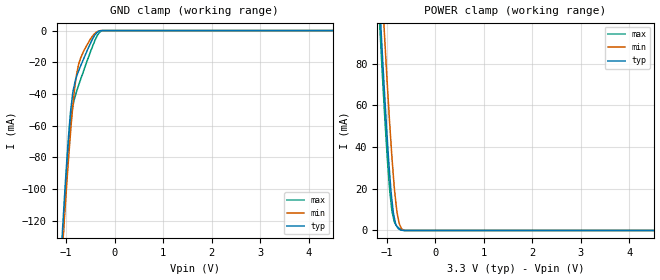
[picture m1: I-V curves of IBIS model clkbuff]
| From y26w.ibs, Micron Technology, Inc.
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|   clkbuff MODEL
[Model]   clkbuff
Model_type   Input
Vinl = 800.000mV
Vinh = 2.000V
|   typ   min   max
C_comp   2.600pF   2.130pF   3.060pF
[Voltage Range]   3.300V   3.000V   3.600V
[Temperature Range]   25.0   85.0   0.0
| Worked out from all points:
|   GND clamp passes 1 mA (typ) near -0.36 V on its own axis
|   POWER clamp passes 1 mA (typ) near -0.77 V on its own axis
[GND Clamp]
|   Voltage   I(typ)   I(min)   I(max)
-3.3V     -1.397A    -1.266A    -1.585A
-1.12V    -148.9mA   NA         NA
-1.07V    -122.3mA   NA         NA
-1.02V    -96.94mA   NA         NA
-970mV    -73.75mA   NA         NA
-910mV    -50.93mA   NA         NA
-860mV    -38.25mA   NA         NA
-770mV    -27.44mA   NA         NA
-720mV    -23.49mA   NA         NA
-570mV    -12.66mA   NA         NA
-320mV    -251.8uA   NA         NA
6.6V      0A         0A         0A
[POWER Clamp]
|   Voltage   I(typ)   I(min)   I(max)
-3.3V     1.18A      1.196A     1.182A
-1.17V    118.4mA    NA         NA
-1.12V    96.27mA    NA         NA
-1.06V    70.77mA    NA         NA
-960mV    32.69mA    NA         NA
-910mV    17.72mA    NA         NA
-870mV    9.148mA    NA         NA
-810mV    2.604mA    NA         NA
-760mV    801.3uA    NA         NA
-710mV    125.2uA    NA         NA
-620mV    0A         NA         NA
6.6V      0A         0A         0A
